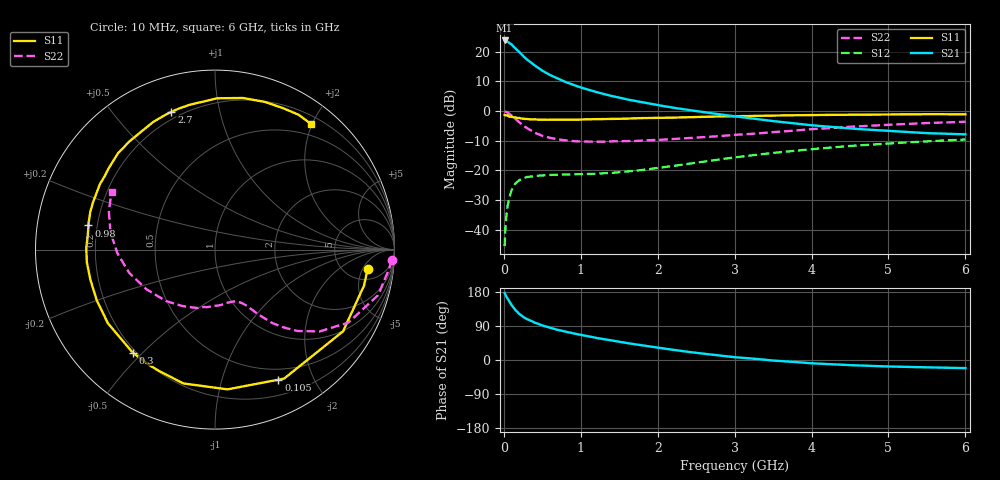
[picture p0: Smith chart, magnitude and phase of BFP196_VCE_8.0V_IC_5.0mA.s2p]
! Infineon Technologies  Discrete & RF Semiconductors
! BFP196
! VCE = 8.0 V,  IC = 5.0mA
! Common Emitter S-Parameters:  Jan 2016
# GHz  S  MA  R  50
!  f  S11  S21  S12  S22
! GHz  MAG  ANG  MAG  ANG  MAG  ANG  MAG  ANG
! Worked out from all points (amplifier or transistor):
!   210 points, 10 MHz to 6 GHz, reference 50 ohm
!   highest |S21| = 23.8 dB at 10 MHz (marker M1)
!   |S21| within 3 dB of that: start of sweep to 164 MHz
!   unconditionally stable (mu >= 1): 1.162 GHz to 3.384 GHz
!   at 185 MHz: K = 0.19, MSG = 21.9 dB, |S12| = -23.6 dB
!   at 1.52 GHz: K = 1.18, MAG = 9.9 dB, |S12| = -20.6 dB
!   at 6 GHz: K = 0.98, MSG = 0.9 dB, |S12| = -9.6 dB
!   S11 on the Smith chart (normalised r, x): 10 MHz: 8, -6; 105 MHz: 0.37, -1.54; 300 MHz: 0.19, -0.47; 980 MHz: 0.17, +0.09; 2.7 GHz: 0.17, +0.72; 6 GHz: 0.32, +1.99
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0.01  0.8574 -7.1  15.43 177.1  0.0053 87.9  0.9856 -3.4
0.02  0.8541 -13.6  15.12 172.0  0.0106 82.0  0.9758 -6.4
0.05  0.8464 -32.5  14.72 161.3  0.0258 72.1  0.9435 -15.6
0.1  0.8154 -61.8  13.24 145.1  0.0462 59.1  0.847 -28.7
0.105  0.8064 -64.0  13.02 143.9  0.0475 57.7  0.8355 -29.5
0.15  0.7818 -84.9  11.37 131.6  0.06 48.1  0.7408 -38.0
0.2  0.7662 -103.3  9.881 121.8  0.0684 40.7  0.6462 -44.6
0.26  0.7401 -119.8  8.227 112.7  0.0743 34.2  0.5579 -49.8
0.3  0.7347 -128.6  7.386 107.8  0.0774 31.5  0.5158 -52.2
0.4  0.7242 -145.5  5.872 98.6  0.0806 26.3  0.4328 -56.3
0.5  0.7168 -156.8  4.777 91.2  0.0824 23.7  0.3824 -59.0
0.6  0.7142 -166.2  4.041 85.1  0.084 22.4  0.3531 -61.1
0.7  0.7175 -174.3  3.516 79.5  0.0844 21.5  0.3344 -63.2
0.98  0.7177 169.2  2.547 67.2  0.0864 22.8  0.3077 -69.9
1.02  0.7204 167.1  2.451 65.6  0.0866 23.2  0.3065 -70.9
1.4  0.7376 150.2  1.79 51.6  0.0907 27.9  0.3089 -81.3
2.02  0.7685 128.2  1.245 32.0  0.1106 36.8  0.3266 -101.2
2.7  0.8047 107.6  0.918 14.3  0.1468 39.6  0.3701 -123.9
3.1  0.8213 97.9  0.786 5.9  0.1718 37.7  0.4029 -137.4
4.1  0.8594 77.9  0.561 -9.6  0.2336 28.7  0.5028 -167.6
5.1  0.8754 63.3  0.455 -17.5  0.2893 16.5  0.5954 168.7
6  0.8808 52.5  0.405 -21.4  0.3311 4.8  0.6605 150.8
